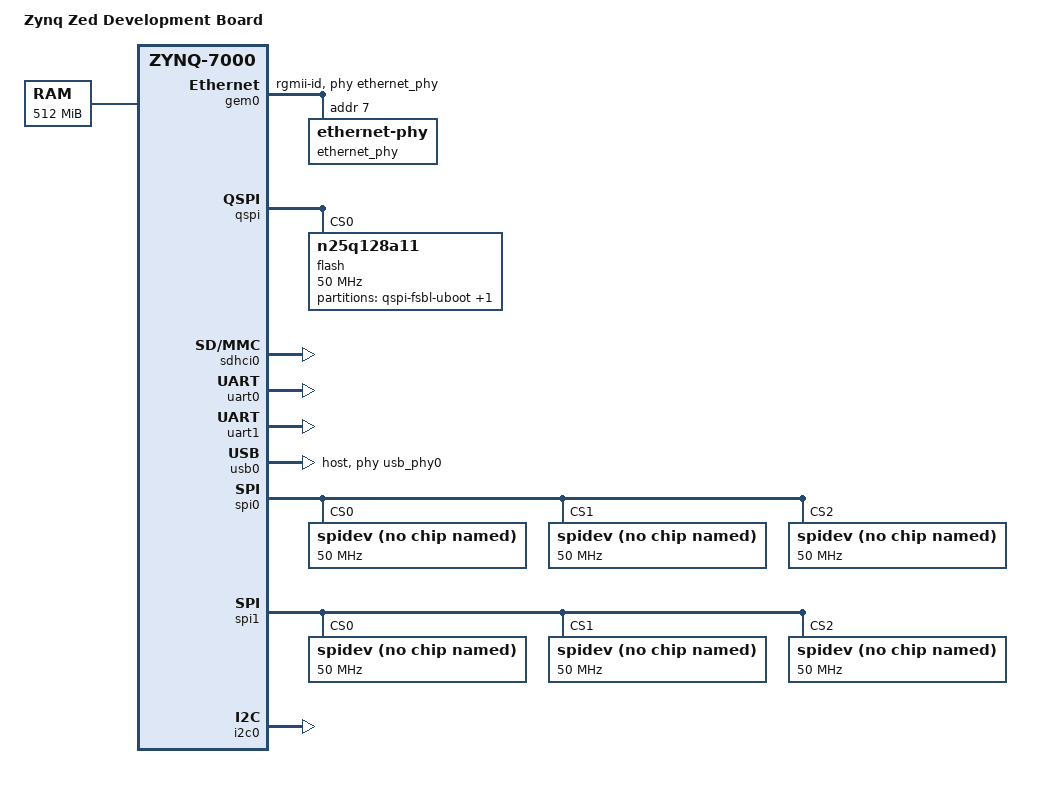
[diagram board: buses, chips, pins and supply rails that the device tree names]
/*
 *  Copyright (C) 2011 - 2014 Xilinx
 *  Copyright (C) 2012 National Instruments Corp.
 *
 * This software is licensed under the terms of the GNU General Public
 * License version 2, as published by the Free Software Foundation, and
 * may be copied, distributed, and modified under those terms.
 *
 * This program is distributed in the hope that it will be useful,
 * but WITHOUT ANY WARRANTY; without even the implied warranty of
 * MERCHANTABILITY or FITNESS FOR A PARTICULAR PURPOSE.  See the
 * GNU General Public License for more details.
 */
/dts-v1/;
#include "zynq-7000.dtsi"

/ {
	model = "Zynq Zed Development Board";
	compatible = "xlnx,zynq-zed", "xlnx,zynq-7000";

	aliases {
		ethernet0 = &gem0;
		i2c0 = &i2c0;
		serial0 = &uart0;
		spi0 = &spi0;
		spi1 = &spi1;
		spi2 = &qspi;
		mmc0 = &sdhci0;
	};

	memory {
		device_type = "memory";
		reg = <0x0 0x20000000>;
	};

	chosen {
		bootargs = "";
		stdout-path = "serial0:115200n8";
	};

	usb_phy0: phy0 {
		compatible = "ulpi-phy";
		#phy-cells = <0>;
		reg = <0xe0002000 0x1000>;
		view-port = <0x0170>;
		drv-vbus;
	};
};

&clkc {
	ps-clk-frequency = <50000000>;
};

&gem0 {
	status = "okay";
	phy-mode = "rgmii-id";
	phy-handle = <&ethernet_phy>;

	ethernet_phy: ethernet-phy@7 {
		reg = <7>;
	};
};

&qspi {
	status = "okay";
	is-dual = <0>;
	num-cs = <1>;
	flash@0 {
		compatible = "n25q128a11";
		reg = <0x0>;
		spi-tx-bus-width = <1>;
		spi-rx-bus-width = <4>;
		spi-max-frequency = <50000000>;
		#address-cells = <1>;
		#size-cells = <1>;
		partition@qspi-fsbl-uboot {
			label = "qspi-fsbl-uboot";
			reg = <0x0 0x100000>;
		};
		partition@qspi-bitstream {
			label = "qspi-bitstream";
			reg = <0x100000 0x1400000>;
		};
	};
};

&sdhci0 {
	status = "okay";
	wp-inverted;
};

&uart0 {
	status = "okay";
};

&uart1 {
	status = "okay";
};

&usb0 {
	status = "okay";
	dr_mode = "host";
	usb-phy = <&usb_phy0>;
};


&spi0 {
	//status = "okay";
	num-cs = <3>;
	spidev@0 {
		compatible = "spidev";
		reg = <0>;
		spi-max-frequency = <50000000>;
		spi-cpha;
		spi-cpol;
	};
	spidev@1 {
		compatible = "spidev";
		reg = <1>;
		spi-max-frequency = <50000000>;
		spi-cpha;
		spi-cpol;
	};
	spidev@2 {
		compatible = "spidev";
		reg = <2>;
		spi-max-frequency = <50000000>;
		spi-cpha;
		spi-cpol;
	};
};

&spi1 {
	status = "okay";
	num-cs = <3>;
	spidev@0 {
		compatible = "spidev";
		reg = <0>;
		spi-max-frequency = <50000000>;
		spi-cpha;
		spi-cpol;
	};
	spidev@1 {
		compatible = "spidev";
		reg = <1>;
		spi-max-frequency = <50000000>;
		spi-cpha;
		spi-cpol;
	};
	spidev@2 {
		compatible = "spidev";
		reg = <2>;
		spi-max-frequency = <50000000>;
		spi-cpha;
		spi-cpol;
	};
};

&i2c0 {
	status = "okay";
};
